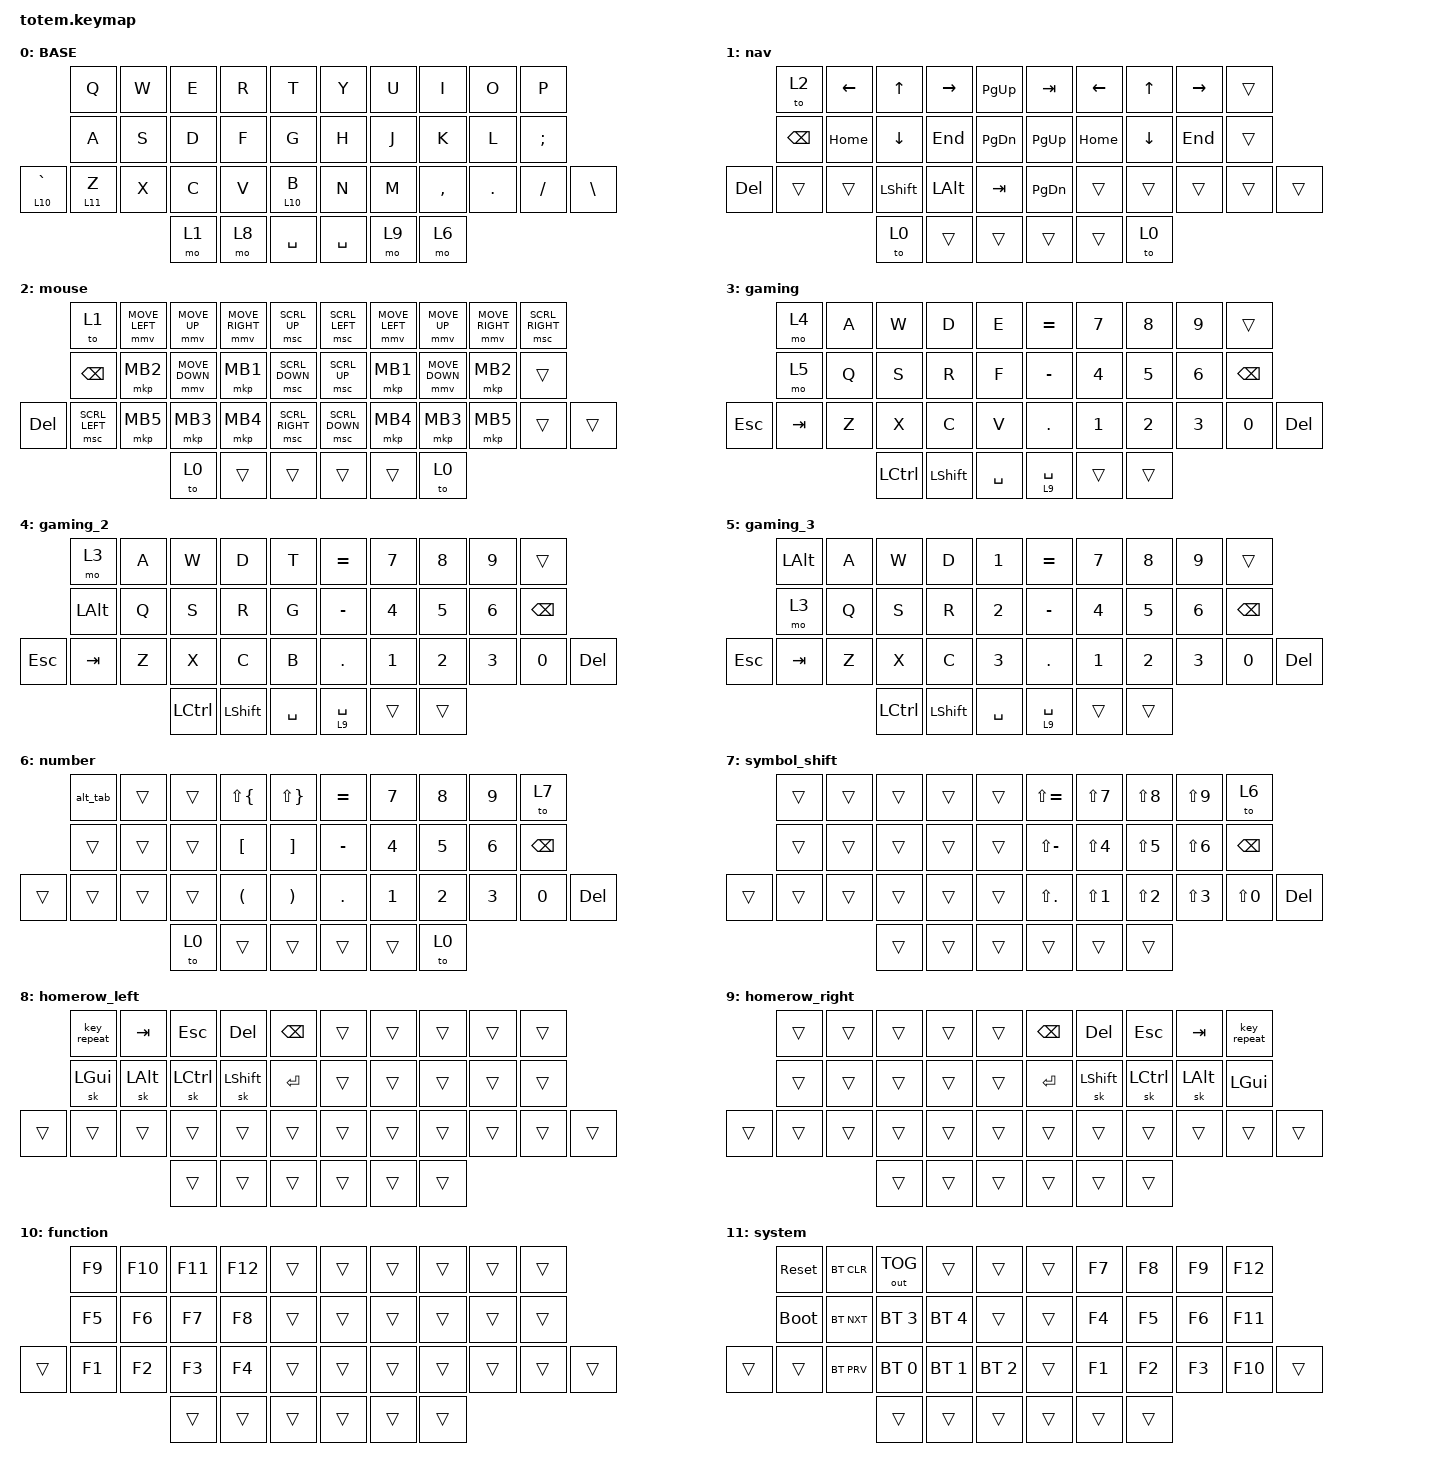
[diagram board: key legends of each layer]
//
//                                                        ▀▀▀▀▀     ▀▀▀▀▀          ▀▀█▀▀
//                                                        ▄▀▀▀▄  ▄  ▄▀▀▀▄  ▄  ▄▀▀▀▄  █  ▄▀▀▀▄
//                                                        █   █  █  █   █  █  █   █  █  █   █
//                                                         ▀▀▀   █   ▀▀▀   █   ▀▀▀   ▀   ▀▀▀
//                                                               █      ▄▄▄█▄▄▄    █   █  
//                                                               ▀      █  █  █     █▄█
//                                                             ▀▀▀▀▀    █  █  █      ▀
//                                                                      ▀  ▀  ▀
//
// ▄▄▄▄▄▄▄▄▄▄▄▄▄▄▄▄▄▄▄▄▄▄▄▄▄▄▄▄▄▄▄▄▄▄▄▄▄▄▄▄▄▄▄▄▄▄▄▄▄▄▄▄▄▄▄▄▄▄▄▄▄▄▄▄▄▄▄▄▄▄▄▄▄▄▄▄▄▄▄▄▄▄▄▄▄▄▄▄▄▄▄▄▄▄▄▄▄▄▄▄▄▄▄▄▄▄▄▄▄▄▄▄▄▄▄▄▄▄▄▄▄▄▄▄▄▄▄▄▄▄▄▄▄▄▄▄▄▄▄▄▄▄▄▄▄▄▄▄▄

#include <dt-bindings/zmk/mouse.h>

// Set mouse movement speed before including pointing.h

#define ZMK_POINTING_DEFAULT_MOVE_VAL 1500  // default: 600
#define ZMK_POINTING_DEFAULT_SCRL_VAL 20    // default: 10

#include <behaviors.dtsi>
#include <dt-bindings/zmk/bt.h>
#include <dt-bindings/zmk/keys.h>
#include <dt-bindings/zmk/outputs.h>
#include <dt-bindings/zmk/pointing.h>

#define BASE 0
#define NAV  1
#define SYM  2
#define ADJ  3
#define TVP1 4
#define TVP2 5
#define B0     BT_SEL 0
#define B1     BT_SEL 1
#define B2     BT_SEL 2
#define B3     BT_SEL 3
#define B4     BT_SEL 4
#define B5     BT_SEL 5
#define OTGL   out OUT_TOG
#define BT_C   BT_CLR
#define BT_C_A BT_CLR_ALL

&mt {
    quick-tap-ms = <100>;
    global-quick-tap;
    flavor = "tap-preferred";
    tapping-term-ms = <135>;
    require-prior-idle-ms = <125>;
};

// Configure mouse movement for quick response with acceleration

/ {
    behaviors {
        // Empty behaviors section - removed home row mods
    };

    combos {
        compatible = "zmk,combos";

        combo_esc {
            timeout-ms = <50>;
            key-positions = <1 0>;
            bindings = <&kp ESC>;
        };

        reset_layers {
            bindings = <&to 0>;
            key-positions = <34 35>;
            require-prior-idle-ms = <100>;
        };

        quote {
            bindings = <&kp SQT>;
            key-positions = <18 19>;
        };

        // Left hand modifiers with left space
        // Right hand modifiers with right space

        activate-gaming {
            bindings = <&to 3>;
            key-positions = <1 2 3 34>;
            layers = <0>;
        };

        tab {
            bindings = <&kp TAB>;
            key-positions = <10 11>;
            layers = <0>;
        };

        grave {
            bindings = <&kp GRAVE>;
            key-positions = <21 22>;
            layers = <0>;
        };
    };

    macros {
        delete: delete {
            compatible = "zmk,behavior-macro";
            #binding-cells = <0>;
            bindings = <&macro_tap>, <&kp LS(BACKSPACE)>;

            label = "DELETE";
        };

        alt_tab: alt_tab {
            compatible = "zmk,behavior-macro";
            #binding-cells = <0>;
            bindings =
                <&macro_press>,
                <&kp LALT>,
                <&macro_tap>,
                <&kp TAB>,
                <&macro_release>,
                <&kp LALT>;

            label = "ALT_TAB";
        };
    };

    keymap {
        compatible = "zmk,keymap";

        // ▄▄▄▄▄▄▄▄▄▄▄▄▄▄▄▄▄▄▄▄▄▄▄▄▄▄▄▄▄▄▄▄▄▄▄▄▄▄▄▄▄▄▄▄▄▄▄▄▄▄▄▄▄▄▄▄▄▄▄▄▄▄▄▄▄▄▄▄▄▄▄▄▄▄▄▄▄▄▄▄▄▄▄▄▄▄▄▄▄▄▄▄▄▄▄▄▄▄▄▄▄▄▄▄▄▄▄▄▄▄▄▄▄▄▄▄▄▄▄▄▄▄▄▄▄▄▄▄▄▄▄▄▄▄▄▄▄▄▄▄▄▄▄▄▄▄▄▄▄

        base_layer {
            // ┏━━━━━━━━━━━━━━━━━━━━━━━━━━━━━━━━━━━━━━━┓

            label = "BASE";

            // ┗━━━━━━━━━━━━━━━━━━━━━━━━━━━━━━━━━━━━━━━┛
            //             ┏━━━━━━━━━━━┳━━━━━━━━━━━┳━━━━━━━━━━━┳━━━━━━━━━━━┳━━━━━━━━━━━┓   ┏━━━━━━━━━━━┳━━━━━━━━━━━┳━━━━━━━━━━━┳━━━━━━━━━━━┳━━━━━━━━━━━┓
            //             ┃     Q     ┃     W     ┃     E     ┃     R     ┃     T     ┃   ┃     Y     ┃     U     ┃     I     ┃     O     ┃     P     ┃
            //             ┣━━━━━━━━━━━╋━━━━━━━━━━━╋━━━━━━━━━━━╋━━━━━━━━━━━╋━━━━━━━━━━━┫   ┣━━━━━━━━━━━╋━━━━━━━━━━━╋━━━━━━━━━━━╋━━━━━━━━━━━╋━━━━━━━━━━━┫
            //             ┃     A     ┃     S     ┃     D     ┃     F     ┃     G     ┃   ┃     H     ┃     J     ┃     K     ┃     L     ┃     ;     ┃
            // ┏━━━━━━━━━━━╋━━━━━━━━━━━╋━━━━━━━━━━━╋━━━━━━━━━━━╋━━━━━━━━━━━╋━━━━━━━━━━━┫   ┣━━━━━━━━━━━╋━━━━━━━━━━━╋━━━━━━━━━━━╋━━━━━━━━━━━╋━━━━━━━━━━━╋━━━━━━━━━━━┓
            // ┃     Q     ┃     Z     ┃     X     ┃     C     ┃     V     ┃     B     ┃   ┃     N     ┃     M     ┃     ,     ┃     .     ┃     /     ┃     \     ┃
            // ┗━━━━━━━━━━━┻━━━━━━━━━━━┻━━━━━━━━━━━╋━━━━━━━━━━━╋━━━━━━━━━━━╋━━━━━━━━━━━┫   ┣━━━━━━━━━━━╋━━━━━━━━━━━╋━━━━━━━━━━━╋━━━━━━━━━━━┻━━━━━━━━━━━┻━━━━━━━━━━━┛
            //                                     ┃    DEL    ┃    TAB    ┃    SPC    ┃   ┃   ENTER   ┃           ┃   BSPC    ┃
            //                                     ┗━━━━━━━━━━━┻━━━━━━━━━━━┻━━━━━━━━━━━┛   ┗━━━━━━━━━━━┻━━━━━━━━━━━┻━━━━━━━━━━━┛

            bindings = <
              &kp Q     &kp W  &kp E  &kp R  &kp T        &kp Y      &kp U  &kp I      &kp O    &kp P
              &kp A     &kp S  &kp D  &kp F  &kp G        &kp H      &kp J  &kp K      &kp L    &kp SEMI
&lt 10 GRAVE  &lt 11 Z  &kp X  &kp C  &kp V  &lt 10 B     &kp N      &kp M  &kp COMMA  &kp DOT  &kp FSLH  &kp BSLH
                               &mo 1  &mo 8  &kp SPACE    &kp SPACE  &mo 9  &mo 6
            >;
        };

        nav {
            bindings = <
         &to 2          &kp LEFT  &kp UP     &kp RIGHT  &kp PG_UP    &kp TAB    &kp LEFT  &kp UP    &kp RIGHT  &trans
         &kp BACKSPACE  &kp HOME  &kp DOWN   &kp END    &kp PG_DN    &kp PG_UP  &kp HOME  &kp DOWN  &kp END    &trans
&kp DEL  &trans         &trans    &kp LSHFT  &kp LALT   &kp TAB      &kp PG_DN  &trans    &trans    &trans     &trans  &trans
                                  &to 0      &trans     &trans       &trans     &trans    &to 0
            >;
        };

        mouse {
            bindings = <
         &to 1           &mmv MOVE_LEFT  &mmv MOVE_UP    &mmv MOVE_RIGHT  &msc SCRL_UP       &msc SCRL_LEFT  &mmv MOVE_LEFT  &mmv MOVE_UP    &mmv MOVE_RIGHT  &msc SCRL_RIGHT
         &kp BACKSPACE   &mkp MB2        &mmv MOVE_DOWN  &mkp MB1         &msc SCRL_DOWN     &msc SCRL_UP    &mkp MB1        &mmv MOVE_DOWN  &mkp MB2         &trans
&kp DEL  &msc SCRL_LEFT  &mkp MB5        &mkp MB3        &mkp MB4         &msc SCRL_RIGHT    &msc SCRL_DOWN  &mkp MB4        &mkp MB3        &mkp MB5         &trans           &trans
                                         &to 0           &trans           &trans             &trans          &trans          &to 0
            >;
        };

        gaming {
            bindings = <
         &mo 4    &kp A  &kp W      &kp D      &kp E        &kp EQUAL    &kp N7  &kp N8  &kp N9  &trans
         &mo 5    &kp Q  &kp S      &kp R      &kp F        &kp MINUS    &kp N4  &kp N5  &kp N6  &kp BACKSPACE
&kp ESC  &kp TAB  &kp Z  &kp X      &kp C      &kp V        &kp DOT      &kp N1  &kp N2  &kp N3  &kp N0         &kp DEL
                         &kp LCTRL  &kp LSHFT  &kp SPACE    &lt 9 SPACE  &trans  &trans
            >;
        };

        gaming_2 {
            bindings = <
         &mo 3         &kp A  &kp W      &kp D      &kp T        &kp EQUAL    &kp N7  &kp N8  &kp N9  &trans
         &kp LEFT_ALT  &kp Q  &kp S      &kp R      &kp G        &kp MINUS    &kp N4  &kp N5  &kp N6  &kp BACKSPACE
&kp ESC  &kp TAB       &kp Z  &kp X      &kp C      &kp B        &kp DOT      &kp N1  &kp N2  &kp N3  &kp N0         &kp DEL
                              &kp LCTRL  &kp LSHFT  &kp SPACE    &lt 9 SPACE  &trans  &trans
            >;
        };

        gaming_3 {
            bindings = <
         &kp LEFT_ALT  &kp A  &kp W      &kp D      &kp NUMBER_1    &kp EQUAL    &kp N7  &kp N8  &kp N9  &trans
         &mo 3         &kp Q  &kp S      &kp R      &kp NUMBER_2    &kp MINUS    &kp N4  &kp N5  &kp N6  &kp BACKSPACE
&kp ESC  &kp TAB       &kp Z  &kp X      &kp C      &kp NUMBER_3    &kp DOT      &kp N1  &kp N2  &kp N3  &kp N0         &kp DEL
                              &kp LCTRL  &kp LSHFT  &kp SPACE       &lt 9 SPACE  &trans  &trans
            >;
        };

        number {
            bindings = <
        &alt_tab  &trans  &trans  &kp LS(LBRC)          &kp LS(RBRC)             &kp EQUAL  &kp N7  &kp N8  &kp N9  &to 7
        &trans    &trans  &trans  &kp LBKT              &kp RBKT                 &kp MINUS  &kp N4  &kp N5  &kp N6  &kp BSPC
&trans  &trans    &trans  &trans  &kp LEFT_PARENTHESIS  &kp RIGHT_PARENTHESIS    &kp DOT    &kp N1  &kp N2  &kp N3  &kp N0    &kp DEL
                          &to 0   &trans                &trans                   &trans     &trans  &to 0
            >;
        };

        symbol_shift {
            bindings = <
        &trans  &trans  &trans  &trans  &trans    &kp LS(EQUAL)   &kp LS(N7)        &kp LS(N8)        &kp LS(N9)        &to 6
        &trans  &trans  &trans  &trans  &trans    &kp LS(MINUS)   &kp LS(NUMBER_4)  &kp LS(N5)        &kp LS(NUMBER_6)  &kp BACKSPACE
&trans  &trans  &trans  &trans  &trans  &trans    &kp LS(PERIOD)  &kp LS(N1)        &kp LS(NUMBER_2)  &kp LS(NUMBER_3)  &kp LS(N0)     &kp DEL
                        &trans  &trans  &trans    &trans          &trans            &trans
            >;
        };

        homerow_left {
            bindings = <
        &key_repeat  &kp TAB   &kp ESC    &kp DEL    &kp BACKSPACE    &trans  &trans  &trans  &trans  &trans
        &sk LGUI     &sk LALT  &sk LCTRL  &sk LSHFT  &kp ENTER        &trans  &trans  &trans  &trans  &trans
&trans  &trans       &trans    &trans     &trans     &trans           &trans  &trans  &trans  &trans  &trans  &trans
                               &trans     &trans     &trans           &trans  &trans  &trans
            >;
        };

        homerow_right {
            bindings = <
        &trans  &trans  &trans  &trans  &trans    &kp BACKSPACE  &kp DEL    &kp ESC    &kp TAB   &key_repeat
        &trans  &trans  &trans  &trans  &trans    &kp ENTER      &sk LSHFT  &sk LCTRL  &sk LALT  &kp LGUI
&trans  &trans  &trans  &trans  &trans  &trans    &trans         &trans     &trans     &trans    &trans       &trans
                        &trans  &trans  &trans    &trans         &trans     &trans
            >;
        };

        function {
            bindings = <
        &kp F9  &kp F10  &kp F11  &kp F12  &trans    &trans  &trans  &trans  &trans  &trans
        &kp F5  &kp F6   &kp F7   &kp F8   &trans    &trans  &trans  &trans  &trans  &trans
&trans  &kp F1  &kp F2   &kp F3   &kp F4   &trans    &trans  &trans  &trans  &trans  &trans  &trans
                         &trans   &trans   &trans    &trans  &trans  &trans
            >;
        };

        adjust_layer {
            // ┏━━━━━━━━━━━━━━━━━━━━━━━━━━━━━━━━━━━━━━━┓

            label = "system";

            // ┗━━━━━━━━━━━━━━━━━━━━━━━━━━━━━━━━━━━━━━━┛
            //             ┏━━━━━━━━━━━┳━━━━━━━━━━━┳━━━━━━━━━━━┳━━━━━━━━━━━┳━━━━━━━━━━━┓   ┏━━━━━━━━━━━┳━━━━━━━━━━━┳━━━━━━━━━━━┳━━━━━━━━━━━┳━━━━━━━━━━━┓
            //             ┃   RESET   ┃ BT CLEAR  ┃  OUT TOG  ┃           ┃           ┃   ┃           ┃    F7     ┃    F8     ┃    F9     ┃    F12    ┃
            //             ┣━━━━━━━━━━━╋━━━━━━━━━━━╋━━━━━━━━━━━╋━━━━━━━━━━━╋━━━━━━━━━━━┫   ┣━━━━━━━━━━━╋━━━━━━━━━━━╋━━━━━━━━━━━╋━━━━━━━━━━━╋━━━━━━━━━━━┫
            //             ┃ BOOTLOAD  ┃ BT NEXT   ┃           ┃           ┃           ┃   ┃           ┃    F4     ┃    F5     ┃    F6     ┃    F11    ┃
            // ┏━━━━━━━━━━━╋━━━━━━━━━━━╋━━━━━━━━━━━╋━━━━━━━━━━━╋━━━━━━━━━━━╋━━━━━━━━━━━┫   ┣━━━━━━━━━━━╋━━━━━━━━━━━╋━━━━━━━━━━━╋━━━━━━━━━━━╋━━━━━━━━━━━╋━━━━━━━━━━━┓
            // ┃           ┃           ┃ BT PREV   ┃           ┃           ┃           ┃   ┃           ┃    F1     ┃    F2     ┃    F3     ┃    F10    ┃           ┃
            // ┗━━━━━━━━━━━┻━━━━━━━━━━━┻━━━━━━━━━━━╋━━━━━━━━━━━╋━━━━━━━━━━━╋━━━━━━━━━━━┫   ┣━━━━━━━━━━━╋━━━━━━━━━━━╋━━━━━━━━━━━╋━━━━━━━━━━━┻━━━━━━━━━━━┻━━━━━━━━━━━┛
            //                                     ┃           ┃           ┃           ┃   ┃           ┃           ┃           ┃
            //                                     ┗━━━━━━━━━━━┻━━━━━━━━━━━┻━━━━━━━━━━━┛   ┗━━━━━━━━━━━┻━━━━━━━━━━━┻━━━━━━━━━━━┛

            bindings = <
        &sys_reset   &bt BT_CLR  &out OUT_TOG  &trans        &trans          &trans  &kp F7  &kp F8  &kp F9  &kp F12
        &bootloader  &bt BT_NXT  &bt BT_SEL 3  &bt BT_SEL 4  &trans          &trans  &kp F4  &kp F5  &kp F6  &kp F11
&trans  &trans       &bt BT_PRV  &bt BT_SEL 0  &bt BT_SEL 1  &bt BT_SEL 2    &trans  &kp F1  &kp F2  &kp F3  &kp F10  &trans
                                 &trans        &trans        &trans          &trans  &trans  &trans
            >;
        };
    };

    conditional_layers { compatible = "zmk,conditional-layers"; };
};
